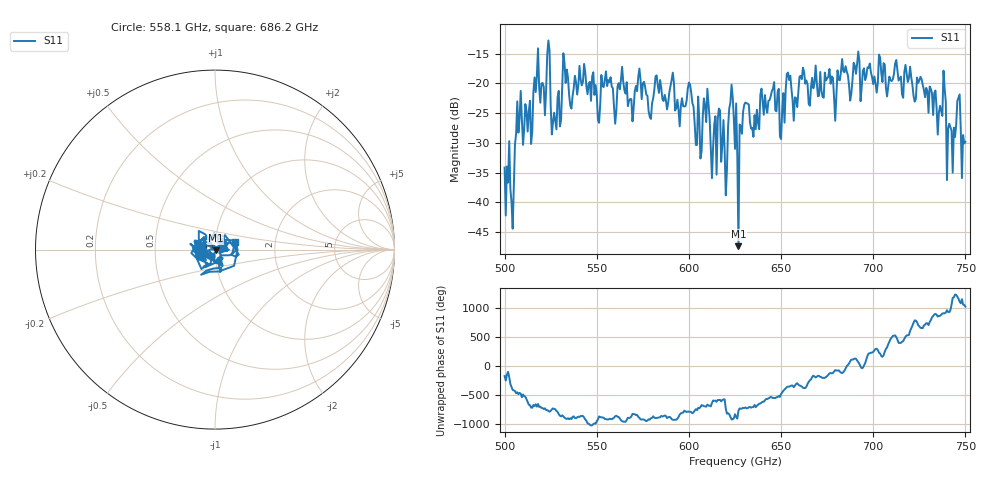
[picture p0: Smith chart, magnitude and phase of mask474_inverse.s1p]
!Created with skrf (http://scikit-rf.org).
# GHz S MA R 50.0
!freq magS11 angS11
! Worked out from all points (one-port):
!   401 points, 500 GHz to 750 GHz, reference 50 ohm
!   lowest |S11| = -47.4 dB at 626.9 GHz (marker M1), VSWR 1.01, Z = 50.3 - j0.319 ohm
!   |S11| at or under -10 dB: start of sweep to end of sweep
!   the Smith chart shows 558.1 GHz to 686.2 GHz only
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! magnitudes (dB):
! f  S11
! 500 GHz  -34.2
! 504.4 GHz  -44.4
! 507.5 GHz  -28.3
! 513.8 GHz  -22.9
! 516.9 GHz  -21.5
! 523.8 GHz  -12.8
! 526.9 GHz  -24.9
! 531.2 GHz  -20.6
! 562.5 GHz  -21.0
! 579.4 GHz  -26.0
! 590.6 GHz  -19.4
! 593.8 GHz  -22.8
! 600.6 GHz  -20.2
! 605.6 GHz  -26.1
! 609.4 GHz  -26.5
! 612.5 GHz  -36.0
! 617.5 GHz  -33.2
! 619.4 GHz  -31.2
! 622.5 GHz  -23.2
! 625 GHz  -31.0
! 626.9 GHz  -47.4
! 631.2 GHz  -23.4
! 635 GHz  -29.0
! 656.2 GHz  -22.9
! 687.5 GHz  -22.9
! 718.8 GHz  -19.8
! 746.2 GHz  -22.4
! 750 GHz  -29.8
